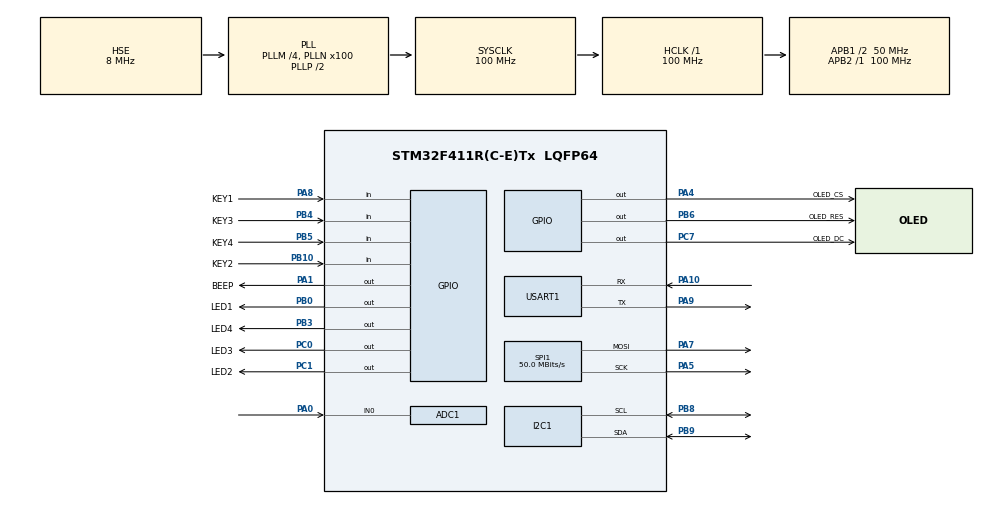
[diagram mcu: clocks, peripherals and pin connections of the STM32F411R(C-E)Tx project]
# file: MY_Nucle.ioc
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ADC1.Channel-0\#ChannelRegularConversion=ADC_CHANNEL_0
ADC1.ContinuousConvMode=ENABLE
ADC1.NbrOfConversionFlag=1
ADC1.Rank-0\#ChannelRegularConversion=1
ADC1.SamplingTime-0\#ChannelRegularConversion=ADC_SAMPLETIME_3CYCLES
ADC1.master=1
Mcu.Family=STM32F4
Mcu.Name=STM32F411R(C-E)Tx
Mcu.Package=LQFP64
NVIC.PriorityGroup=NVIC_PRIORITYGROUP_4
PA0-WKUP.Signal=ADCx_IN0
PA1.GPIO_Label=BEEP
PA1.GPIO_PuPd=GPIO_PULLDOWN
PA1.GPIO_Speed=GPIO_SPEED_FREQ_LOW
PA1.Signal=GPIO_Output
PA10.Mode=Multiprocessor_communication
PA10.Signal=USART1_RX
PA13.Mode=Serial_Wire
PA13.Signal=SYS_JTMS-SWDIO
PA14.Mode=Serial_Wire
PA14.Signal=SYS_JTCK-SWCLK
PA4.GPIO_Label=OLED_CS
PA4.GPIO_PuPd=GPIO_PULLUP
PA4.GPIO_Speed=GPIO_SPEED_FREQ_HIGH
PA4.Signal=GPIO_Output
PA5.Mode=TX_Only_Simplex_Unidirect_Master
PA5.Signal=SPI1_SCK
PA7.Mode=TX_Only_Simplex_Unidirect_Master
PA7.Signal=SPI1_MOSI
PA8.GPIO_Label=KEY1
PA8.GPIO_PuPd=GPIO_NOPULL
PA8.Signal=GPIO_Input
PA9.Mode=Multiprocessor_communication
PA9.Signal=USART1_TX
PB0.GPIO_Label=LED1
PB0.GPIO_PuPd=GPIO_PULLDOWN
PB0.Signal=GPIO_Output
PB10.GPIO_Label=KEY2
PB10.Signal=GPIO_Input
PB3.GPIO_Label=LED4
PB3.GPIO_PuPd=GPIO_PULLDOWN
PB3.Signal=GPIO_Output
PB4.GPIO_Label=KEY3
PB4.Signal=GPIO_Input
PB5.GPIO_Label=KEY4
PB5.Signal=GPIO_Input
PB6.GPIO_Label=OLED_RES
PB6.GPIO_PuPd=GPIO_PULLDOWN
PB6.Signal=GPIO_Output
PB8.Mode=I2C
PB8.Signal=I2C1_SCL
PB9.Mode=I2C
PB9.Signal=I2C1_SDA
PC0.GPIO_Label=LED3
PC0.GPIO_PuPd=GPIO_PULLDOWN
PC0.Signal=GPIO_Output
PC1.GPIO_Label=LED2
PC1.GPIO_PuPd=GPIO_PULLDOWN
PC1.Signal=GPIO_Output
PC14-OSC32_IN.Mode=LSE-External-Oscillator
PC14-OSC32_IN.Signal=RCC_OSC32_IN
PC15-OSC32_OUT.Mode=LSE-External-Oscillator
PC15-OSC32_OUT.Signal=RCC_OSC32_OUT
PC7.GPIO_Label=OLED_DC
PC7.GPIO_PuPd=GPIO_PULLUP
PC7.Signal=GPIO_Output
PH0\ -\ OSC_IN.Mode=HSE-External-Clock-Source
PH0\ -\ OSC_IN.Signal=RCC_OSC_IN
PH1\ -\ OSC_OUT.Mode=HSE-External-Clock-Source
PH1\ -\ OSC_OUT.Signal=RCC_OSC_OUT
ProjectManager.HeapSize=0x200
ProjectManager.StackSize=0x400
ProjectManager.TargetToolchain=MDK-ARM V5.27
RCC.48MHZClocksFreq_Value=50000000
RCC.AHBFreq_Value=100000000
RCC.APB1CLKDivider=RCC_HCLK_DIV2
RCC.APB1Freq_Value=50000000
RCC.APB1TimFreq_Value=100000000
RCC.APB2Freq_Value=100000000
RCC.APB2TimFreq_Value=100000000
RCC.CortexFreq_Value=100000000
RCC.HCLKFreq_Value=100000000
RCC.HSE_VALUE=8000000
RCC.HSI_VALUE=16000000
RCC.PLLM=4
RCC.PLLN=100
RCC.PLLSourceVirtual=RCC_PLLSOURCE_HSE
RCC.RCC_RTC_Clock_Source=RCC_RTCCLKSOURCE_LSE
RCC.RCC_RTC_Clock_SourceVirtual=RCC_RTCCLKSOURCE_LSE
RCC.SYSCLKFreq_VALUE=100000000
RCC.SYSCLKSource=RCC_SYSCLKSOURCE_PLLCLK
RCC.VCOOutputFreq_Value=200000000
RTC.Date=7
RTC.Hours=14
RTC.Minutes=30
RTC.Month=RTC_MONTH_JUNE
RTC.WeekDay=RTC_WEEKDAY_WEDNESDAY
RTC.Year=23
SH.ADCx_IN0.0=ADC1_IN0,IN0
SPI1.CalculateBaudRate=50.0 MBits/s
SPI1.Direction=SPI_DIRECTION_2LINES
SPI1.Mode=SPI_MODE_MASTER
SPI1.VirtualType=VM_MASTER
USART1.VirtualMode=VM_ASYNC
VP_RTC_VS_RTC_Activate.Mode=RTC_Enabled
VP_RTC_VS_RTC_Calendar.Mode=RTC_Calendar
board=custom

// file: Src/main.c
/* USER CODE BEGIN Header */
/**
  ******************************************************************************
  * @file           : main.c
  * @brief          : Main program body
  ******************************************************************************
  * @attention
  *
  * <h2><center>&copy; Copyright (c) 2021 STMicroelectronics.
  * All rights reserved.</center></h2>
  *
  * This software component is licensed by ST under BSD 3-Clause license,
  * the "License"; You may not use this file except in compliance with the
  * License. You may obtain a copy of the License at:
  *                        opensource.org/licenses/BSD-3-Clause
  *
  ******************************************************************************
  */
/* USER CODE END Header */
#include "main.h"
#include "adc.h"
#include "i2c.h"
#include "rtc.h"
#include "spi.h"
#include "usart.h"
#include "gpio.h"

/* USER CODE BEGIN Includes */
#include "LED.h"
#include "KEY.h"
#include "OLED_SPI.h"
#include "LM75AD.h"
/* USER CODE END Includes */

void SystemClock_Config(void);

/* USER CODE BEGIN 0 */
int main()
{
	SystemClock_Config();
	MX_GPIO_Init();
	MX_ADC1_Init();
	MX_SPI1_Init();
	MX_USART1_UART_Init();
	MX_RTC_Init();
	MX_I2C1_Init();

	OLED_Init();
	LM75AD_Init();
	delay_init(100);
	u8 beep_state[2]={0};	//蜂鸣器状态
	u8 choise=0;		//GUI选择
	u8 key_state[2]={0};//3，4按键状态
	u16 times=0;		//公用迭代数
	u16 time=0;

	RTC_DateTypeDef GetData;    //获取日期结构体
	RTC_TimeTypeDef GetTime;    //获取时间结构体

//开始设置开机动画
	GUI_Init();

	while(1)
	{

		switch (choise)
		{
			case 0:GUI_Time();break;//时间
			case 1:GUI_Alarm();break;//闹钟
			case 2:GUI_Temperature();break;//ADC采集V，温度
//			case 3:GUI_Real();break;//实时时间
			default:break;
		}

////////////////////////////////////////设置不同状态对应的状态变量choise以切换GUI///////////////////////////////////////////////////////////
		if((GUI_TIME.GUI_state[1]==0)&&(GUI_ALARM.GUI_state[1]==0)&&(GUI_TEMPERATURE.GUI_state[1]==0))
		{
			//////////////////////按键3
			if((KEY_GetPinState(3)==1)&&(key_state[0]==0))
			{
				key_state[0]=1;
			}
			else if((KEY_GetPinState(3)==0)&&(key_state[0]==1))
			{
				//////////////////////按键输出
				if(choise==0)
					choise=2;
				else
					choise--;
				//////////////////////
				GUI_TIME.GUI_state[0]=0;
				GUI_ALARM.GUI_state[0]=0;
				GUI_TEMPERATURE.GUI_state[0]=0;
				key_state[0]=0;
			}
				//////////////////////按键4
			if((KEY_GetPinState(4)==1)&&(key_state[1]==0))
			{
				key_state[1]=1;
			}
			else if((KEY_GetPinState(4)==0)&&(key_state[1]==1))
			{
				//////////////////////按键输出
				if(choise==2)
					choise=0;
				else
					choise++;
				//////////////////////
				GUI_TIME.GUI_state[0]=0;
				GUI_ALARM.GUI_state[0]=0;
				GUI_TEMPERATURE.GUI_state[0]=0;
				key_state[1]=0;
			}

		}

/////////////////////////////////////////////蜂鸣器////////////////////////////////////////////

		if((RTC_TIME.Hours==GUI_ALARM.GUI_data[0])&&(RTC_TIME.Minutes==GUI_ALARM.GUI_data[1])&&(RTC_TIME.Seconds==GUI_ALARM.GUI_data[2]))
			if((GUI_ALARM.GUI_data[0]!=0)||(GUI_ALARM.GUI_data[1]!=0)||(GUI_ALARM.GUI_data[2]!=0))
				beep_state[0]=1;

		if(beep_state[1]==0)
			if(beep_state[0]==1)
			{

//				while(time<6)        //设置beep每隔0.5s响一次，连续响六次
//				{
//						times=0;
//						while(times<10)
//						{
//							LED_State(times+1,1);
//							delay_ms(25);
//							times++;
//							HAL_GPIO_WritePin(BEEP_GPIO_Port,BEEP_Pin,GPIO_PIN_SET);
//						}
//						times=0;
//						while(times<10)
//						{
//							LED_State(times+1,0);
//							delay_ms(25);
//							times++;
//							HAL_GPIO_WritePin(BEEP_GPIO_Port,BEEP_Pin,GPIO_PIN_RESET);
//						}
//						time++;
//				}
//				time=0;
//				beep_state[0]=0;
//				beep_state[1]=1;

					while(time<1)
					{
						beep_music();
						time++;
					}
				time=0;
				beep_state[0]=0;
				beep_state[1]=1;
			}

//按下按键时灯亮提示按键按下
		if(KEY_GetPinState(1))
			LED_State(1,1);
		else
			LED_State(1,0);
		if(KEY_GetPinState(2))
			LED_State(2,1);
		else
			LED_State(2,0);
		if(KEY_GetPinState(3))
			LED_State(3,1);
		else
			LED_State(3,0);
		if(KEY_GetPinState(4))
			LED_State(4,1);
		else
			LED_State(4,0);

	}
}
/* USER CODE END 0 */

void SystemClock_Config(void)
{
  RCC_OscInitTypeDef RCC_OscInitStruct = {0};
  RCC_ClkInitTypeDef RCC_ClkInitStruct = {0};
  RCC_PeriphCLKInitTypeDef PeriphClkInitStruct = {0};

  /** Configure the main internal regulator output voltage
  */
  __HAL_RCC_PWR_CLK_ENABLE();
  __HAL_PWR_VOLTAGESCALING_CONFIG(PWR_REGULATOR_VOLTAGE_SCALE1);
  /** Initializes the RCC Oscillators according to the specified parameters
  * in the RCC_OscInitTypeDef structure.
  */
  RCC_OscInitStruct.OscillatorType = RCC_OSCILLATORTYPE_HSE|RCC_OSCILLATORTYPE_LSE;
  RCC_OscInitStruct.HSEState = RCC_HSE_BYPASS;
  RCC_OscInitStruct.LSEState = RCC_LSE_ON;
  RCC_OscInitStruct.PLL.PLLState = RCC_PLL_ON;
  RCC_OscInitStruct.PLL.PLLSource = RCC_PLLSOURCE_HSE;
  RCC_OscInitStruct.PLL.PLLM = 4;
  RCC_OscInitStruct.PLL.PLLN = 100;
  RCC_OscInitStruct.PLL.PLLP = RCC_PLLP_DIV2;
  RCC_OscInitStruct.PLL.PLLQ = 4;
  if (HAL_RCC_OscConfig(&RCC_OscInitStruct) != HAL_OK)
  {
    Error_Handler();
  }
  /** Initializes the CPU, AHB and APB buses clocks
  */
  RCC_ClkInitStruct.ClockType = RCC_CLOCKTYPE_HCLK|RCC_CLOCKTYPE_SYSCLK
                              |RCC_CLOCKTYPE_PCLK1|RCC_CLOCKTYPE_PCLK2;
  RCC_ClkInitStruct.SYSCLKSource = RCC_SYSCLKSOURCE_PLLCLK;
  RCC_ClkInitStruct.AHBCLKDivider = RCC_SYSCLK_DIV1;
  RCC_ClkInitStruct.APB1CLKDivider = RCC_HCLK_DIV2;
  RCC_ClkInitStruct.APB2CLKDivider = RCC_HCLK_DIV1;

  if (HAL_RCC_ClockConfig(&RCC_ClkInitStruct, FLASH_LATENCY_3) != HAL_OK)
  {
    Error_Handler();
  }
  PeriphClkInitStruct.PeriphClockSelection = RCC_PERIPHCLK_RTC;
  PeriphClkInitStruct.RTCClockSelection = RCC_RTCCLKSOURCE_LSE;
  if (HAL_RCCEx_PeriphCLKConfig(&PeriphClkInitStruct) != HAL_OK)
  {
    Error_Handler();
  }
}

void Error_Handler(void)
{
  __disable_irq();
  while (1)
  {
  }
}

/************************ (C) COPYRIGHT STMicroelectronics *****END OF FILE****/
